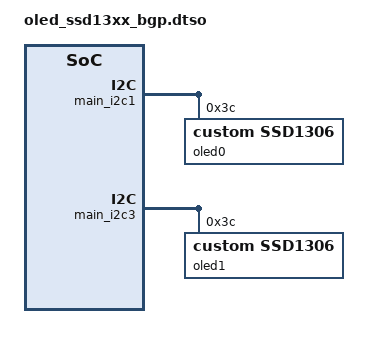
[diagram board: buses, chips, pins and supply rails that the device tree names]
/*
 * oled_ssd13xx_bgp.dtso
 * Simple DT Overlay for two OLED SSD13XX displays
 * connected to the TI BeaglePlay
 * 1. I2C-1 bus, slave addr 0x3c ; Grove devices are typically on I2C bus 1
 * 2. I2C-3 bus, slave addr 0x3d ; mikroBUS devices are typically on I2C bus 3
 *
 * compatible:
 * Setting OEM to 'custom' - and not the oiginal OEM 'solomon' - precisely
 * so that the kernel-default fb_ssd1306 driver doesn't get matched and
 * loaded.
 */
/dts-v1/;
/plugin/;

&main_i2c1 { // Grove is typically on I2C bus 1
	#address-cells = <1>;
	#size-cells = <0>;

    oled0: ssd1306@3c {
        compatible = "custom,ssd1306";
        reg = <0x3c>;
	status = "okay";
    };
};

&main_i2c3 { // MikroBUS is typically on I2C bus 3
	#address-cells = <1>;
	#size-cells = <0>;

    oled1: ssd1306@3c {
        compatible = "custom,ssd1306";
        reg = <0x3c>;
	status = "okay";
    };
};
